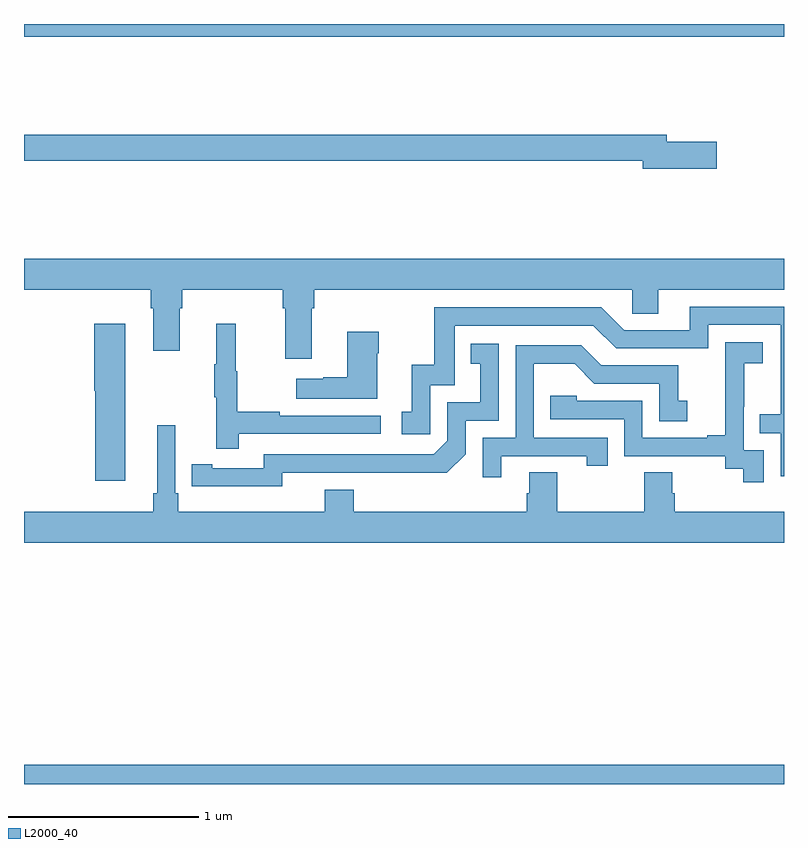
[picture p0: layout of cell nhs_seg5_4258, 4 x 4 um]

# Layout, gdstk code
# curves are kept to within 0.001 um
import gdstk
lib = gdstk.Library(unit=1e-6, precision=1e-09)
def R(c, l, rs):  # rectangles x0, y0, x1, y1
    for r in rs: c.add(gdstk.rectangle(r[:2], r[2:], *l))
def P(c, l, *ps):  # polygons
    for p in ps: c.add(gdstk.Polygon(p, *l))
L2000_40 = (2000, 40)

nhs_seg5_4258 = lib.new_cell('nhs_seg5_4258')
R(nhs_seg5_4258, L2000_40, [(361,880.799,365,880.9), (361,884.732,365,884.799)])
P(nhs_seg5_4258, L2000_40, [(364.645,884.18),(364.384,884.18),(364.384,884.216),(361,884.216),(361,884.08),(364.256,884.08),(364.256,884.038),(364.645,884.038)],
  [(362.515,883.304),(362.528,883.304),(362.528,883.4),(364.2,883.4),(364.2,883.273),(364.339,883.273),(364.339,883.4),(365,883.4),(365,883.564),(361,883.564),(361,883.4),(361.667,883.4),(361.667,883.304),(361.679,883.304),(361.679,883.08),(361.819,883.08),(361.819,883.304),(361.832,883.304),(361.832,883.4),(362.363,883.4),(362.363,883.304),(362.375,883.304),(362.375,883.038),(362.515,883.038)],
  [(365,883.311),(364.505,883.311),(364.505,883.188),(364.158,883.188),(364.038,883.308),(363.159,883.308),(363.159,883.006),(363.041,883.006),(363.041,882.759),(362.988,882.759),(362.988,882.639),(363.138,882.639),(363.138,882.897),(363.267,882.897),(363.267,883.212),(363.996,883.212),(364.116,883.092),(364.602,883.092),(364.602,883.215),(364.983,883.215),(364.983,882.746),(364.873,882.746),(364.873,882.645),(364.983,882.645),(364.983,882.42),(365,882.42)],
  [(362.129,882.642),(362.878,882.642),(362.878,882.738),(362.345,882.738),(362.345,882.758),(362.122,882.758),(362.122,882.972),(362.114,882.972),(362.114,883.222),(362.012,883.222),(362.012,883.009),(362.001,883.009),(362.001,882.835),(362.012,882.835),(362.012,882.564),(362.129,882.564)],
  [(361.534,883.222),(361.37,883.222),(361.37,882.87),(361.376,882.87),(361.376,882.396),(361.534,882.396)],
  [(362.86,883.067),(362.868,883.067),(362.868,883.18),(362.702,883.18),(362.702,882.941),(362.576,882.941),(362.576,882.931),(362.433,882.931),(362.433,882.827),(362.86,882.827)],
  [(364.893,882.555),(364.788,882.555),(364.788,882.785),(364.79,882.785),(364.79,883.013),(364.888,883.013),(364.888,883.123),(364.69,883.123),(364.69,882.917),(364.691,882.917),(364.691,882.634),(364.595,882.634),(364.595,882.621),(364.254,882.621),(364.254,882.816),(363.909,882.816),(363.909,882.843),(363.769,882.843),(363.769,882.72),(364.158,882.72),(364.158,882.525),(364.692,882.525),(364.692,882.457),(364.785,882.457),(364.785,882.387),(364.893,882.387)],
  [(362.358,882.438),(363.226,882.437),(363.324,882.534),(363.324,882.711),(363.498,882.711),(363.498,883.117),(363.352,883.117),(363.352,883.011),(363.401,883.011),(363.401,882.807),(363.228,882.807),(363.228,882.606),(363.156,882.534),(362.262,882.534),(362.262,882.462),(361.99,882.462),(361.99,882.482),(361.882,882.482),(361.882,882.366),(362.358,882.365)],
  [(363.511,882.525),(363.962,882.525),(363.962,882.474),(364.073,882.474),(364.073,882.621),(363.684,882.621),(363.684,883.01),(363.898,883.01),(364.002,882.906),(364.344,882.906),(364.344,882.708),(364.492,882.708),(364.492,882.817),(364.443,882.817),(364.443,883.002),(364.039,883.002),(363.934,883.107),(363.588,883.107),(363.588,882.621),(363.414,882.621),(363.414,882.414),(363.511,882.414)],
  [(365,882.232),(364.424,882.232),(364.424,882.33),(364.411,882.33),(364.411,882.44),(364.264,882.44),(364.264,882.232),(363.807,882.232),(363.807,882.44),(363.659,882.44),(363.659,882.33),(363.647,882.33),(363.647,882.232),(362.735,882.232),(362.735,882.349),(362.582,882.349),(362.582,882.232),(361.811,882.232),(361.811,882.328),(361.797,882.328),(361.797,882.688),(361.7,882.688),(361.7,882.328),(361.681,882.328),(361.681,882.232),(361,882.232),(361,882.068),(365,882.068)])

lib.write_gds('nhs_seg5_4258.gds')
